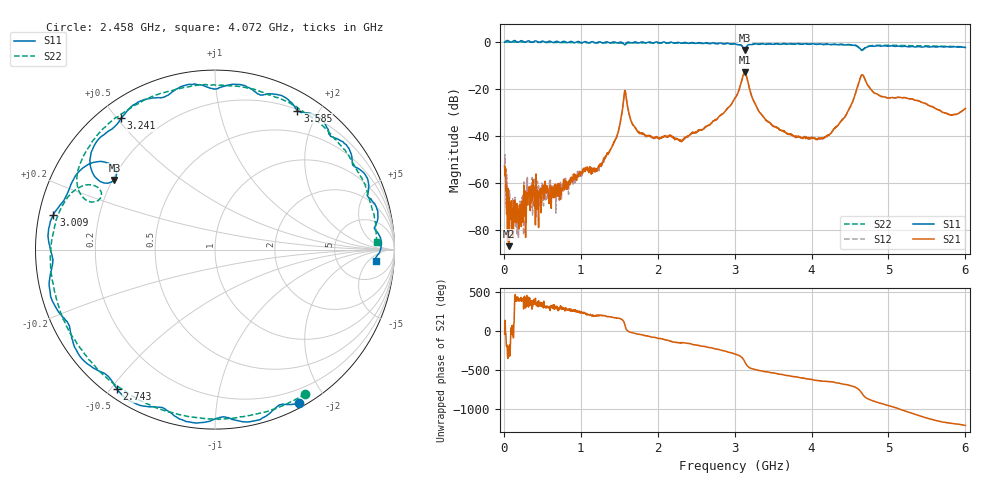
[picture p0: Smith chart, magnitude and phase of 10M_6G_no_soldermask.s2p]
!Keysight Technologies,N5234A,MY55441333,A.10.60.03
!Date: Thursday, July 10, 2025 14:02:57
!Correction: S11(Full 2 Port(1,2))
!S21(Full 2 Port(1,2))
!S12(Full 2 Port(1,2))
!S22(Full 2 Port(1,2))
!S2P File: Measurements: S11, S21, S12, S22:
# Hz S  RI  R 50
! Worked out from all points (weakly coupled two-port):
!   1601 points, 10 MHz to 6 GHz, reference 50 ohm
!   highest |S21| = -12.76 dB at 3.132 GHz (marker M1); lowest = -86.9 dB at 69.9 MHz (marker M2)
!   lowest |S11| = -3.3 dB at 3.132 GHz (marker M3), VSWR 5.27, Z = 10.4 + j15 ohm
!   |S11| at or under -10 dB: nowhere
!   |S22| runs from -3.5 to 0.1 dB; largest |S21 - S12| = 0.0044
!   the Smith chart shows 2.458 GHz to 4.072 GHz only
!   S11 on the Smith chart (normalised r, x): 2.458 GHz: 0.05, -1.69; 2.743 GHz: 0.03, -0.52; 3.009 GHz: 0.04, +0.11; 3.241 GHz: 0.07, +0.51; 3.585 GHz: 0.21, +1.74; 4.072 GHz: 13, -8
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1e7  1.003 -0.00921  0.0018 -0.00142  0.00147 0.00154  1.001 -0.0287
6.99e7  0.9973 -0.2878  3.59e-05 2.72e-05  -7.38e-05 -6.46e-05  0.9754 -0.2406
5.004312e8  -0.1075 -1.046  0.000555 -0.000354  0.00081 -0.000201  -0.0819 -0.9926
1.009581e9  -0.9602 0.1459  -0.000864 -0.00132  -0.000676 -0.0014  -0.9687 0.0864
1.380212e9  -0.3544 0.8964  -0.00485 -0.000397  -0.00506 -0.000368  -0.4142 0.8705
1.574888e9  0.0927 0.8729  0.0251 0.0904  0.0243 0.0891  0.0451 0.8692
2.009162e9  0.9469 0.2656  -0.000494 -0.00907  -0.000257 -0.0093  0.9054 0.3371
2.458412e9  0.4707 -0.854  -0.0117 -0.0018  -0.0113 -0.00174  0.5037 -0.8037
2.742938e9  -0.5457 -0.7767  -0.0152 0.0158  -0.0152 0.0156  -0.4478 -0.8228
3.005e9  -0.9102 0.1747  0.027 0.0588  0.0261 0.0581  -0.9127 0.0149
3.008744e9  -0.9003 0.1923  0.0285 0.0589  0.0282 0.0586  -0.9124 0.0294
3.132288e9  -0.5601 0.3874  0.1895 -0.1306  0.1894 -0.1273  -0.6393 0.2851
3.240856e9  -0.5235 0.7316  -0.0356 -0.0472  -0.0347 -0.047  -0.6552 0.6385
3.585281e9  0.4596 0.7739  -0.013 0.00308  -0.0133 0.00344  0.2912 0.8652
4.004581e9  0.9221 0.0644  -0.00118 0.00917  -0.00128 0.00903  0.8881 0.1788
4.071969e9  0.8951 -0.0638  0.000444 0.00859  0.000735 0.00846  0.9 0.0404
4.655994e9  0.1068 -0.6761  0.0292 -0.1996  0.0312 -0.1985  0.1619 -0.645
5.004162e9  -0.6598 -0.4841  -0.0333 0.0555  -0.0333 0.0547  -0.6606 -0.5499
5.198838e9  -0.7656 0.2786  0.0345 0.056  0.0337 0.0565  -0.828 0.1787
5.397256e9  -0.00628 0.8054  0.0553 -0.00825  0.0554 -0.00773  -0.2728 0.7887
5.666806e9  0.7708 0.2367  0.00421 -0.0349  0.00496 -0.0351  0.6384 0.5186
6e9  0.5876 -0.4956  -0.0272 -0.0274  -0.0269 -0.0278  0.7264 -0.3126
